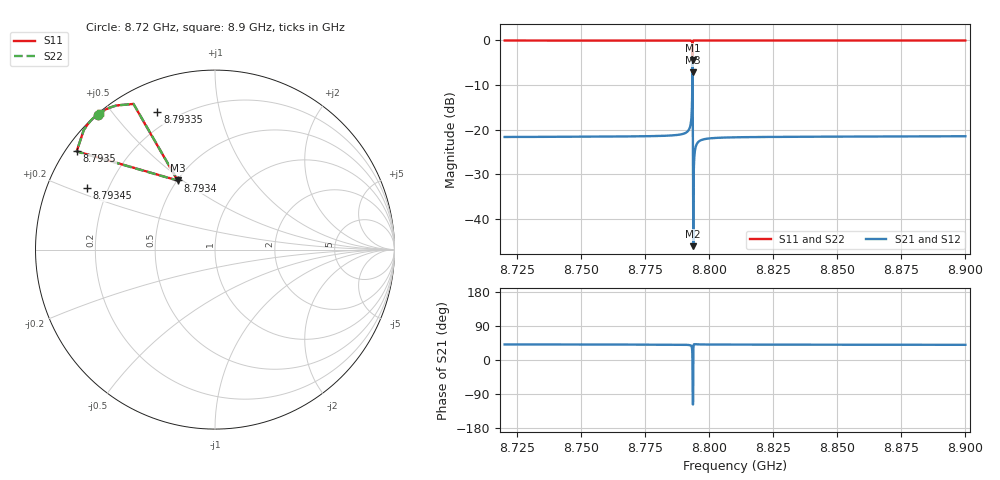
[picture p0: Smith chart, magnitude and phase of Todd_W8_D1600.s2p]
! Sonnet Data File
! From: emgraph Version : 16.52
! From Project: transmon_brgOdd
! Data is De-embedded
! Data File Written: 11/11/2017 22:28:47
!< HDATE 11/11/2017 18:22:48
!< MDATE 11/11/2017 18:22:48
!< PARAMS
!< Lj = 15.24
!< Gap = 6.0
!< Width = 10.0
!< Airgap = 6.0
!< Pwidth = 2000.0
!< Dist = 1600.0
!< END PARAMS
# GHZ S MA R 34.67000
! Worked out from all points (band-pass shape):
!   3601 points, 8.72 GHz to 8.9 GHz, reference 34.67 ohm
!   highest |S21| = -4.50 dB at 8.7934 GHz (marker M1); lowest = -46.1 dB at 8.7937 GHz (marker M2)
!   |S21| within 3 dB of the highest: 8.793357 GHz to 8.793434 GHz (77.31 kHz wide, 0.000879 % of centre)
!   lowest |S11| = -7.2 dB at 8.7934 GHz (marker M3), VSWR 2.56, Z = 17.4 + j16.6 ohm
!   |S11| at or under -10 dB: nowhere
!   |S22| runs from -7.2 to 0.0 dB; largest |S21 - S12| = 0
!   S11 on the Smith chart (normalised r, x): 8.72 GHz: 0.00, +0.46; 8.79335 GHz: 0.13, +0.66; 8.7934 GHz: 0.50, +0.48; 8.79345 GHz: 0.12, +0.22; 8.7935 GHz: 0.03, +0.32; 8.9 GHz: 0.00, +0.47
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8.72  0.9965 131.1  0.08302 41.1  0.08302 41.1  0.9965 131.1
!< P1 F=8.72 Eeff=(5.13609477 -5.6761e-5) Z0=(34.6490765 -9.5162e-5) R=0.0 C=0.0
!< P2 F=8.72 Eeff=(5.13609477 -5.6761e-5) Z0=(34.6490765 -9.5162e-5) R=0.0 C=0.0
8.75  0.9965 130.9  0.08359 40.9  0.08359 40.9  0.9965 130.9
8.78  0.9964 130.6  0.08517 40.6  0.08517 40.6  0.9964 130.6
8.7906  0.9957 130.2  0.09194 40.2  0.09194 40.2  0.9957 130.2
8.792  0.9948 129.7  0.1003 39.6  0.1003 39.6  0.9948 129.7
8.7923  0.9942 129.4  0.1048 39.3  0.1048 39.3  0.9942 129.4
8.7926  0.993 129.0  0.1127 38.7  0.1127 38.7  0.993 129.0
8.79295  0.9891 127.7  0.1346 36.9  0.1346 36.9  0.9891 127.7
8.79335  0.8327 112.6  0.3984 9.7  0.3984 9.7  0.8323 112.5
8.7934  0.4385 118.5  0.5959 -32.1  0.5959 -32.1  0.4363 118.3
8.79345  0.7933 154.5  0.3607 -90.5  0.3607 -90.5  0.7926 154.6
8.7935  0.9452 144.6  0.1648 -110.6  0.1648 -110.6  0.9451 144.7
8.7937  0.9955 135.3  0.004983 -19.7  0.004983 -19.7  0.9955 135.3
8.7943  0.9979 132.2  0.05691 41.7  0.05691 41.7  0.9979 132.2
8.7945  0.9978 131.9  0.06181 41.6  0.06181 41.6  0.9978 131.9
8.79475  0.9976 131.7  0.06587 41.5  0.06587 41.5  0.9976 131.7
8.79505  0.9975 131.5  0.06911 41.4  0.06911 41.4  0.9975 131.5
8.79665  0.997 131.1  0.07628 41.0  0.07628 41.0  0.997 131.1
8.81  0.9966 130.6  0.08232 40.6  0.08232 40.6  0.9966 130.7
8.84  0.9965 130.4  0.08359 40.4  0.08359 40.4  0.9965 130.4
8.87  0.9965 130.2  0.08414 40.2  0.08414 40.2  0.9965 130.2
8.9  0.9964 130.1  0.08459 40.1  0.08459 40.1  0.9964 130.1
